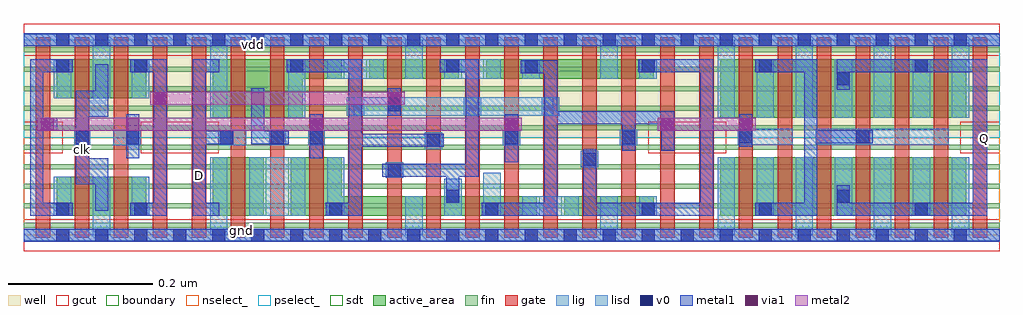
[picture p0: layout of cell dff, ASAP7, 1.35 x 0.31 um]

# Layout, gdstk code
import gdstk
lib = gdstk.Library(unit=1e-6, precision=2.5e-10)
def R(c, l, rs):  # rectangles x0, y0, x1, y1
    for r in rs: c.add(gdstk.rectangle(r[:2], r[2:], *l))
def A(c, l, x, y, w, h, nx, ny, dx, dy):  # array of equal rectangles
    R(c, l, [(x+i*dx, y+j*dy, x+i*dx+w, y+j*dy+h) for i in range(nx) for j in range(ny)])
def P(c, l, *ps):  # polygons
    for p in ps: c.add(gdstk.Polygon(p, *l))
well = (1, 0)
fin = (2, 0)
gate = (7, 0)
gcut = (10, 0)
active_area = (11, 0)
nselect_ = (12, 0)
pselect_ = (13, 0)
lig = (16, 0)
lisd = (17, 0)
v0 = (18, 0)
metal1 = (19, 0)
metal2 = (20, 0)
via1 = (21, 0)
sdt = (88, 0)
boundary = (100, 0)

dff = lib.new_cell('dff')
R(dff, well, [(0,0.135,1.35,0.27)])
A(dff, fin, 0, 0.01, 1.35, 0.007, 1, 10, 0, 0.027)
A(dff, gate, 0.017, -0.0035, 0.02, 0.277, 25, 1, 0.054, 0)
R(dff, gcut, [(0,-0.022,1.35,0.022), (0,0.113,0.054,0.157), (0.162,0.113,0.27,0.157), (0.864,0.113,0.972,0.157), (1.296,0.113,1.35,0.157), (0,0.248,1.35,0.292)])
R(dff, active_area, [(0.046,0.027,0.17,0.081), (0.262,0.027,0.332,0.108), (0.748,0.027,0.872,0.054), (0.964,0.027,1.304,0.108), (0.964,0.162,1.304,0.243), (0.046,0.189,0.17,0.243), (0.478,0.216,0.602,0.243), (0.64,0.216,0.872,0.243)])
P(dff, active_area, [(0.44,0.243),(0.262,0.243),(0.262,0.162),(0.386,0.162),(0.386,0.216),(0.44,0.216)],
  [(0.71,0.054),(0.44,0.054),(0.44,0.108),(0.37,0.108),(0.37,0.027),(0.71,0.027)])
R(dff, nselect_, [(0,0,1.35,0.135)])
R(dff, pselect_, [(0,0.135,1.35,0.27)])
R(dff, lig, [(0,-0.008,1.35,0.008), (0.501,0.079,0.525,0.101), (0.771,0.094,0.795,0.117), (0.555,0.119,0.579,0.142), (0.07,0.124,0.092,0.146), (0.124,0.124,0.162,0.146), (0.27,0.124,0.308,0.146), (0.34,0.124,0.363,0.146), (0.394,0.124,0.417,0.146), (0.663,0.124,0.687,0.146), (0.825,0.124,0.849,0.146), (0.988,0.125,1.064,0.147), (1.096,0.125,1.28,0.147), (0.447,0.165,0.471,0.191), (0.609,0.165,0.633,0.191), (0.717,0.165,0.741,0.191), (0,0.262,1.35,0.278)])
A(dff, lisd, 0.96, 0, 0.024, 0.108, 4, 2, 0.108, 0.162)
A(dff, lisd, 1.014, 0.027, 0.024, 0.081, 3, 2, 0.108, 0.135)
R(dff, lisd, [(0.096,0,0.12,0.081), (0.258,0,0.282,0.108), (0.528,0,0.552,0.054), (0.798,0,0.822,0.054), (0.042,0.027,0.066,0.081), (0.15,0.027,0.174,0.081), (0.312,0.027,0.39,0.108), (0.42,0.027,0.444,0.108), (0.582,0.027,0.606,0.078), (0.636,0.027,0.66,0.086), (0.69,0.027,0.768,0.054), (0.852,0.027,0.876,0.054), (0.258,0.162,0.282,0.27), (0.366,0.162,0.39,0.243), (0.457,0.165,0.733,0.191), (0.042,0.189,0.066,0.243), (0.096,0.189,0.12,0.27), (0.15,0.189,0.174,0.243), (0.42,0.216,0.498,0.243), (0.528,0.216,0.552,0.27), (0.582,0.216,0.66,0.243), (0.69,0.216,0.714,0.243), (0.798,0.216,0.822,0.27), (0.852,0.216,0.876,0.243)])
A(dff, v0, 0.045, -0.009, 0.018, 0.018, 24, 2, 0.054, 0.27)
A(dff, v0, 0.423, 0.027, 0.018, 0.018, 3, 1, 0.216, 0)
A(dff, v0, 0.153, 0.225, 0.018, 0.018, 3, 1, 0.216, 0)
R(dff, v0, [(0.045,0.027,0.063,0.045), (0.153,0.027,0.171,0.045), (1.017,0.027,1.035,0.045), (1.233,0.027,1.251,0.045), (0.585,0.045,0.603,0.063), (1.125,0.045,1.143,0.063), (0.504,0.081,0.522,0.099), (0.774,0.096,0.792,0.114), (0.558,0.122,0.576,0.14), (0.072,0.126,0.09,0.144), (0.142,0.126,0.16,0.144), (0.272,0.126,0.29,0.144), (0.342,0.126,0.36,0.144), (0.396,0.126,0.414,0.144), (0.666,0.126,0.684,0.144), (0.828,0.126,0.846,0.144), (0.99,0.127,1.008,0.145), (1.152,0.127,1.17,0.145), (0.504,0.171,0.522,0.189), (1.125,0.207,1.143,0.225), (0.693,0.224,0.711,0.242), (0.045,0.225,0.063,0.243), (0.855,0.225,0.873,0.243), (1.017,0.225,1.035,0.243), (1.233,0.225,1.251,0.243)])
R(dff, metal1, [(0,-0.009,1.35,0.009), (0.666,0.101,0.684,0.167), (0.142,0.106,0.16,0.167), (0.396,0.106,0.414,0.167), (0.99,0.122,1.008,0.167), (0.504,0.165,0.522,0.203), (0,0.261,1.35,0.279)])
P(dff, metal1, [(0.068,0.045),(0.027,0.045),(0.027,0.144),(0.047,0.144),(0.047,0.162),(0.027,0.162),(0.027,0.225),(0.068,0.225),(0.068,0.243),(0.009,0.243),(0.009,0.027),(0.068,0.027)],
  [(0.117,0.106),(0.09,0.106),(0.09,0.164),(0.117,0.164),(0.117,0.236),(0.099,0.236),(0.099,0.2),(0.072,0.2),(0.072,0.07),(0.099,0.07),(0.099,0.034),(0.117,0.034)],
  [(0.198,0.243),(0.148,0.243),(0.148,0.225),(0.18,0.225),(0.18,0.045),(0.148,0.045),(0.148,0.027),(0.198,0.027)],
  [(0.29,0.144),(0.252,0.144),(0.252,0.225),(0.271,0.225),(0.271,0.243),(0.234,0.243),(0.234,0.027),(0.271,0.027),(0.271,0.045),(0.252,0.045),(0.252,0.126),(0.29,0.126)],
  [(0.367,0.144),(0.333,0.144),(0.333,0.203),(0.315,0.203),(0.315,0.126),(0.367,0.126)],
  [(0.581,0.14),(0.468,0.14),(0.468,0.243),(0.364,0.243),(0.364,0.225),(0.45,0.225),(0.45,0.045),(0.418,0.045),(0.418,0.027),(0.468,0.027),(0.468,0.122),(0.581,0.122)],
  [(0.63,0.243),(0.576,0.243),(0.576,0.225),(0.612,0.225),(0.612,0.099),(0.496,0.099),(0.496,0.081),(0.585,0.081),(0.585,0.045),(0.603,0.045),(0.603,0.081),(0.63,0.081)],
  [(0.9,0.171),(0.738,0.171),(0.738,0.242),(0.688,0.242),(0.688,0.224),(0.72,0.224),(0.72,0.045),(0.634,0.045),(0.634,0.027),(0.738,0.027),(0.738,0.153),(0.828,0.153),(0.828,0.117),(0.846,0.117),(0.846,0.153),(0.882,0.153),(0.882,0.117),(0.9,0.117)],
  [(0.954,0.243),(0.85,0.243),(0.85,0.225),(0.936,0.225),(0.936,0.045),(0.792,0.045),(0.792,0.119),(0.774,0.119),(0.774,0.027),(0.954,0.027)],
  [(1.175,0.145),(1.098,0.145),(1.098,0.243),(1.012,0.243),(1.012,0.225),(1.08,0.225),(1.08,0.045),(1.012,0.045),(1.012,0.027),(1.098,0.027),(1.098,0.127),(1.175,0.127)],
  [(1.333,0.243),(1.125,0.243),(1.125,0.201),(1.143,0.201),(1.143,0.225),(1.313,0.225),(1.313,0.045),(1.143,0.045),(1.143,0.069),(1.125,0.069),(1.125,0.027),(1.333,0.027)])
R(dff, metal2, [(0.019,0.144,0.689,0.162), (0.877,0.144,1.013,0.162), (0.175,0.18,0.527,0.198)])
R(dff, via1, [(0.024,0.144,0.042,0.162), (0.142,0.144,0.16,0.162), (0.396,0.144,0.414,0.162), (0.666,0.144,0.684,0.162), (0.882,0.144,0.9,0.162), (0.99,0.144,1.008,0.162), (0.18,0.18,0.198,0.198), (0.315,0.18,0.333,0.198), (0.504,0.18,0.522,0.198)])
A(dff, sdt, 0.042, 0.027, 0.024, 0.054, 3, 2, 0.054, 0.162)
A(dff, sdt, 0.258, 0.027, 0.024, 0.081, 4, 1, 0.054, 0)
A(dff, sdt, 0.528, 0.027, 0.024, 0.027, 7, 1, 0.054, 0)
A(dff, sdt, 0.96, 0.027, 0.024, 0.081, 7, 2, 0.054, 0.135)
A(dff, sdt, 0.42, 0.216, 0.024, 0.027, 6, 1, 0.054, 0)
R(dff, sdt, [(0.258,0.162,0.282,0.243), (0.366,0.162,0.39,0.243), (0.798,0.216,0.822,0.243), (0.852,0.216,0.876,0.243)])
R(dff, boundary, [(0,0,1.35,0.27)])
dff.add(gdstk.Label('Q', (1.329,0.134), layer=19, texttype=251))
dff.add(gdstk.Label('vdd', (0.318,0.264), layer=19, texttype=251))
dff.add(gdstk.Label('D', (0.244,0.082), layer=19, texttype=251))
dff.add(gdstk.Label('clk', (0.082,0.119), layer=19, texttype=251))
dff.add(gdstk.Label('gnd', (0.302,0.007), layer=19, texttype=251))

lib.write_gds('dff.gds')
